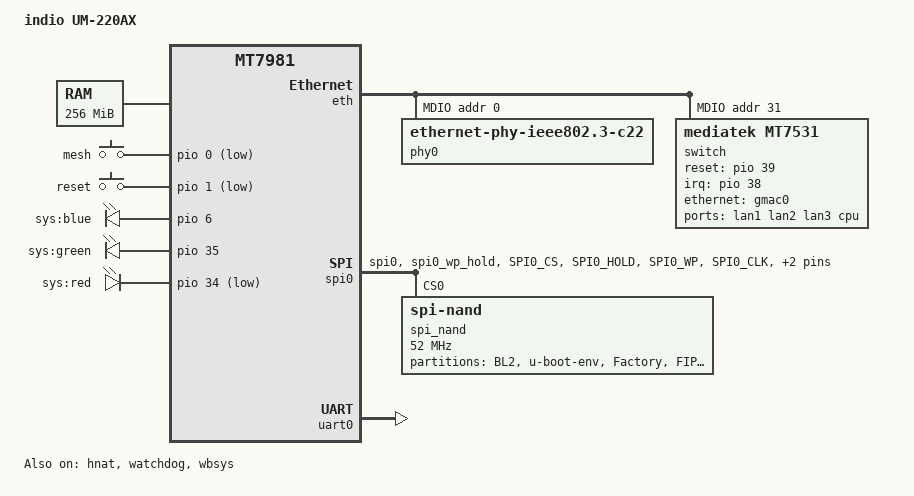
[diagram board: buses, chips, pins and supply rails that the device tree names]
// SPDX-License-Identifier: GPL-2.0-or-later OR MIT
/*
 * Copyright (c) 2025, Shubham Vishwakarma <shubhamvis98@fossfrog.in>
 */

/dts-v1/;

#include <dt-bindings/input/input.h>
#include <dt-bindings/gpio/gpio.h>

#include "mt7981.dtsi"

/ {
	model = "indio UM-220AX";
	compatible = "indio,um-220ax";

	aliases {
		serial0 = &uart0;

		led-boot = &led_power;
		led-failsafe = &led_power;
		led-running = &led_power;
		led-upgrade = &led_power;
	};

	chosen {
		stdout-path = "serial0:115200n8";
	};

	memory {
		reg = <0 0x40000000 0 0x10000000>;
	};

	gpio-keys {
		compatible = "gpio-keys";

		mesh {
			label = "mesh";
			gpios = <&pio 0 GPIO_ACTIVE_LOW>;
			linux,code = <BTN_MISC>;
		};

		reset {
			label = "reset";
			gpios = <&pio 1 GPIO_ACTIVE_LOW>;
			linux,code = <KEY_RESTART>;
		};
	};

	leds {
		compatible = "gpio-leds";

		led_power: led_blue {
			label = "sys:blue";
			gpios = <&pio 6 GPIO_ACTIVE_HIGH>;
			default-state="off";
		};

		led_green {
			label = "sys:green";
			gpios = <&pio 35 GPIO_ACTIVE_HIGH>;
			default-state="off";
		};

		led_red {
			label = "sys:red";
			gpios = <&pio 34 GPIO_ACTIVE_LOW>;
			default-state="off";
		};
	};
};

&eth {
	status = "okay";

	gmac0: mac@0 {
		compatible = "mediatek,eth-mac";
		reg = <0>;
		phy-mode = "2500base-x";
		mtd-mac-address = <&factory 0x24>;

		fixed-link {
			speed = <2500>;
			full-duplex;
			pause;
		};
	};

	gmac1: mac@1 {
		compatible = "mediatek,eth-mac";
		reg = <1>;
		phy-mode = "gmii";
		phy-handle = <&phy0>;
		mtd-mac-address = <&factory 0x24>;
		mtd-mac-address-increment = <1>;
	};

	mdio: mdio-bus {
		#address-cells = <1>;
		#size-cells = <0>;

		phy0: ethernet-phy@0 {
			compatible = "ethernet-phy-ieee802.3-c22";
			reg = <0>;
			phy-mode = "gmii";
			phy-is-integrated;
			nvmem-cells = <&phy_calibration>;
			nvmem-cell-names = "phy-cal-data";
		};

		switch@0 {
			compatible = "mediatek,mt7531";
			reg = <31>;
			reset-gpios = <&pio 39 GPIO_ACTIVE_HIGH>;
			interrupt-controller;
			#interrupt-cells = <1>;
			interrupt-parent = <&pio>;
			interrupts = <38 IRQ_TYPE_LEVEL_HIGH>;

			ports {
				#address-cells = <1>;
				#size-cells = <0>;

				port@1 {
					reg = <1>;
					label = "lan1";
				};

				port@2 {
					reg = <2>;
					label = "lan2";
				};

				port@3 {
					reg = <3>;
					label = "lan3";
				};

				port@6 {
					reg = <6>;
					label = "cpu";
					ethernet = <&gmac0>;
					phy-mode = "2500base-x";

					fixed-link {
						speed = <2500>;
						full-duplex;
						pause;
					};
				};
			};
		};
	};
};

&spi0 {
	pinctrl-names = "default";
	pinctrl-0 = <&spi0_flash_pins>;
	status = "okay";

	spi_nand: flash@0 {
		#address-cells = <1>;
		#size-cells = <1>;
		compatible = "spi-nand";
		reg = <0>;

		spi-max-frequency = <52000000>;
		spi-tx-buswidth = <4>;
		spi-rx-buswidth = <4>;

		partitions {
			compatible = "fixed-partitions";
			#address-cells = <1>;
			#size-cells = <1>;

			partition@0 {
				label = "BL2";
				reg = <0x00 0x100000>;
				read-only;
			};

			partition@100000 {
				label = "u-boot-env";
				reg = <0x100000 0x80000>;
			};

			factory: partition@180000 {
				label = "Factory";
				reg = <0x180000 0x200000>;
				read-only;
			};

			partition@380000 {
				label = "FIP";
				reg = <0x380000 0x200000>;
				read-only;
			};

			partition@580000 {
				label = "ubi";
				reg = <0x580000 0x4000000>;
			};
		};
	};
};

&pio {
	spi0_flash_pins: spi0-pins {
		mux {
			function = "spi";
			groups = "spi0", "spi0_wp_hold";
		};

		conf-pu {
			pins = "SPI0_CS", "SPI0_HOLD", "SPI0_WP";
			drive-strength = <MTK_DRIVE_8mA>;
			bias-pull-up = <MTK_PUPD_SET_R1R0_11>;
		};

		conf-pd {
			pins = "SPI0_CLK", "SPI0_MOSI", "SPI0_MISO";
			drive-strength = <MTK_DRIVE_8mA>;
			bias-pull-down = <MTK_PUPD_SET_R1R0_11>;
		};
	};
};

&hnat {
	mtketh-wan = "wan";
	mtketh-lan = "eth0";
	mtketh-max-gmac = <2>;
	status = "okay";
};

&uart0 {
	status = "okay";
};

&watchdog {
	status = "okay";
};

&wbsys {
	status = "okay";

	mediatek,mtd-eeprom = <&factory 0x0>;
	pinctrl-names = "dbdc";
	pinctrl-0 = <&wf_dbdc_pins>;
};

&pio {
	wf_dbdc_pins: wf_dbdc-pins {
		mux {
			function = "eth";
			groups = "wf0_mode1";
		};
		conf {
			pins = "WF_HB1", "WF_HB2", "WF_HB3", "WF_HB4",
				"WF_HB0", "WF_HB0_B", "WF_HB5", "WF_HB6",
				"WF_HB7", "WF_HB8", "WF_HB9", "WF_HB10",
				"WF_TOP_CLK", "WF_TOP_DATA", "WF_XO_REQ",
				"WF_CBA_RESETB", "WF_DIG_RESETB";
			drive-strength = <MTK_DRIVE_4mA>;
		};
	};
};
